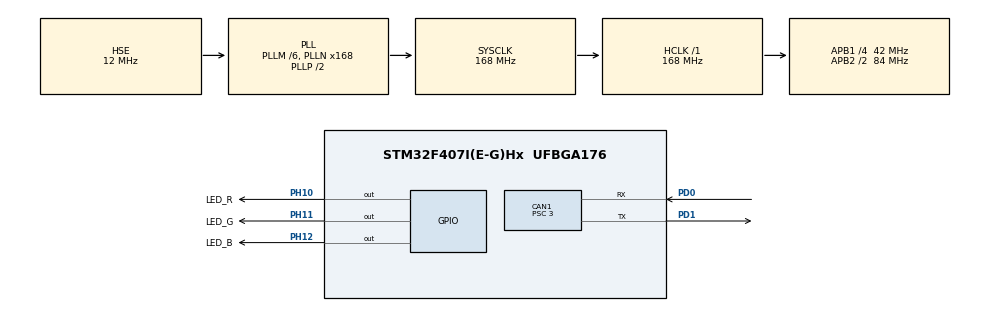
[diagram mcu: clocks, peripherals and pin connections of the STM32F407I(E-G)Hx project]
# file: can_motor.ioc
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CAN1.BS1=CAN_BS1_10TQ
CAN1.BS2=CAN_BS2_3TQ
CAN1.CalculateBaudRate=1000000
CAN1.CalculateTimeBit=1000
CAN1.CalculateTimeQuantum=71.42857142857143
CAN1.Mode=CAN_MODE_NORMAL
CAN1.Prescaler=3
Mcu.Family=STM32F4
Mcu.Name=STM32F407I(E-G)Hx
Mcu.Package=UFBGA176
NVIC.CAN1_RX0_IRQn=true\:0\:0\:false\:false\:true\:true\:true\:true
NVIC.PriorityGroup=NVIC_PRIORITYGROUP_4
PA13.Mode=Serial_Wire
PA13.Signal=SYS_JTMS-SWDIO
PA14.Mode=Serial_Wire
PA14.Signal=SYS_JTCK-SWCLK
PD0.Mode=CAN_Activate
PD0.Signal=CAN1_RX
PD1.Mode=CAN_Activate
PD1.Signal=CAN1_TX
PH0-OSC_IN.Mode=HSE-External-Oscillator
PH0-OSC_IN.Signal=RCC_OSC_IN
PH1-OSC_OUT.Mode=HSE-External-Oscillator
PH1-OSC_OUT.Signal=RCC_OSC_OUT
PH10.GPIO_Label=LED_R
PH10.PinState=GPIO_PIN_RESET
PH10.Signal=GPIO_Output
PH11.GPIO_Label=LED_G
PH11.PinState=GPIO_PIN_RESET
PH11.Signal=GPIO_Output
PH12.GPIO_Label=LED_B
PH12.PinState=GPIO_PIN_RESET
PH12.Signal=GPIO_Output
ProjectManager.HeapSize=0x200
ProjectManager.StackSize=0x400
ProjectManager.TargetToolchain=CMake
RCC.48MHZClocksFreq_Value=84000000
RCC.AHBFreq_Value=168000000
RCC.APB1CLKDivider=RCC_HCLK_DIV4
RCC.APB1Freq_Value=42000000
RCC.APB1TimFreq_Value=84000000
RCC.APB2CLKDivider=RCC_HCLK_DIV2
RCC.APB2Freq_Value=84000000
RCC.APB2TimFreq_Value=168000000
RCC.CortexFreq_Value=168000000
RCC.HCLKFreq_Value=168000000
RCC.HSE_VALUE=12000000
RCC.HSI_VALUE=16000000
RCC.LSE_VALUE=32768
RCC.PLLM=6
RCC.PLLN=168
RCC.PLLSourceVirtual=RCC_PLLSOURCE_HSE
RCC.SYSCLKFreq_VALUE=168000000
RCC.SYSCLKSource=RCC_SYSCLKSOURCE_PLLCLK
RCC.VCOOutputFreq_Value=336000000
board=custom

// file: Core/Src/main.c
/* USER CODE BEGIN Header */
/**
  ******************************************************************************
  * @file           : main.c
  * @brief          : Main program body
  ******************************************************************************
  * @attention
  *
  * Copyright (c) 2026 STMicroelectronics.
  * All rights reserved.
  *
  * This software is licensed under terms that can be found in the LICENSE file
  * in the root directory of this software component.
  * If no LICENSE file comes with this software, it is provided AS-IS.
  *
  ******************************************************************************
  */
/* USER CODE END Header */
#include "main.h"

CAN_HandleTypeDef hcan1;

/* USER CODE BEGIN PV */
/* 收到过多少帧电调反馈：用来让绿灯以肉眼看得见的速度闪
   （反馈默认 1kHz，累计 500 帧翻转一次 ≈ 2Hz） */
static uint32_t rx_frame_cnt = 0;
/* USER CODE END PV */

void SystemClock_Config(void);
static void MX_GPIO_Init(void);
static void MX_CAN1_Init(void);

int main(void)
{

  /* MCU Configuration--------------------------------------------------------*/

  /* Reset of all peripherals, Initializes the Flash interface and the Systick. */
  HAL_Init();

  /* Configure the system clock */
  SystemClock_Config();

  /* Initialize all configured peripherals */
  MX_GPIO_Init();
  MX_CAN1_Init();
  /* USER CODE BEGIN 2 */
  /* ============================================================
   * TODO 1/2/3/4/5 的答案：C610 控制帧的帧头
   *   说明书：标识符 0x200（ID 1~4）/ 0x1FF（ID 5~8）
   *           帧类型 标准帧、帧格式 DATA、DLC 8 字节
   * ============================================================ */
  CAN_TxHeaderTypeDef txHeader = {0};
  txHeader.StdId = C610_CTRL_ID_1_4;   /* 0x200：控制 ID 1~4 号电调（原来写的 0x713 是别的设备的 ID） */
  txHeader.ExtId = 0;                  /* 标准帧不使用扩展 ID */
  txHeader.IDE = CAN_ID_STD;           /* 帧类型：标准帧（不是 CAN_ID_EXT 扩展帧） */
  txHeader.RTR = CAN_RTR_DATA;         /* 帧格式：DATA（不是 CAN_RTR_REMOTE 远程帧） */
  txHeader.DLC = 8;                    /* DLC：8 字节（不是 6） */
  txHeader.TransmitGlobalTime = DISABLE;

  /* ============================================================
   * TODO 6：构造控制电机的 CAN 帧
   *   每台电调占 2 个字节，高位在前（大端 int16）：
   *   DATA[0..1]=ID1  DATA[2..3]=ID2  DATA[4..5]=ID3  DATA[6..7]=ID4
   *   本实验总线上只有一台电调（ID=1），所以只填 DATA[0..1]，其余保持 0
   * ============================================================ */
  uint8_t txData[8] = {0};
  int16_t current = MOTOR_CURRENT;              /* 1000 -> 约 1A 转矩电流 */
  txData[0] = (uint8_t)((current >> 8) & 0xFF); /* 控制电流值高 8 位 */
  txData[1] = (uint8_t)(current & 0xFF);        /* 控制电流值低 8 位 */

  uint32_t txMailbox;
  uint32_t last_tx_tick = HAL_GetTick();
  uint32_t heartbeat = 0;
  /* USER CODE END 2 */

  /* Infinite loop */
  /* USER CODE BEGIN WHILE */
  while (1)
  {
    /* ==========================================================
     * TODO 7：控制频率 100Hz（原来 HAL_Delay(500) 只有 2Hz）。
     * 电调靠“周期性收到控制帧”维持输出，停发就会停机；
     * 用 HAL_GetTick() 判断时间到没到，比 HAL_Delay 更稳。
     * ========================================================== */
    if ((HAL_GetTick() - last_tx_tick) >= CTRL_PERIOD_MS)
    {
      last_tx_tick = HAL_GetTick();

      if (HAL_CAN_AddTxMessage(&hcan1, &txHeader, txData, &txMailbox) != HAL_OK)
      {
        /* 3 个发送邮箱都满 / 总线错误：蓝灯亮起提示（这里不能死等） */
        HAL_GPIO_WritePin(LED_B_GPIO_Port, LED_B_Pin, GPIO_PIN_SET);
      }
      else
      {
        HAL_GPIO_WritePin(LED_B_GPIO_Port, LED_B_Pin, GPIO_PIN_RESET);

        /* 红灯心跳：每 50 帧（0.5s）翻转一次，说明主循环还在跑 */
        if (++heartbeat >= (500u / CTRL_PERIOD_MS))
        {
          heartbeat = 0;
          HAL_GPIO_TogglePin(LED_R_GPIO_Port, LED_R_Pin);
        }
      }
      /* 绿灯在 HAL_CAN_RxFifo0MsgPendingCallback() 里翻转：每收到一帧电调反馈闪一次 */
    }
    /* USER CODE END WHILE */

  }
}

void SystemClock_Config(void)
{
  RCC_OscInitTypeDef RCC_OscInitStruct = {0};
  RCC_ClkInitTypeDef RCC_ClkInitStruct = {0};

  /** Configure the main internal regulator output voltage
  */
  __HAL_RCC_PWR_CLK_ENABLE();
  __HAL_PWR_VOLTAGESCALING_CONFIG(PWR_REGULATOR_VOLTAGE_SCALE1);

  /** Initializes the RCC Oscillators according to the specified parameters
  * in the RCC_OscInitTypeDef structure.
  */
  RCC_OscInitStruct.OscillatorType = RCC_OSCILLATORTYPE_HSE;
  RCC_OscInitStruct.HSEState = RCC_HSE_ON;
  RCC_OscInitStruct.PLL.PLLState = RCC_PLL_ON;
  RCC_OscInitStruct.PLL.PLLSource = RCC_PLLSOURCE_HSE;
  RCC_OscInitStruct.PLL.PLLM = 6;
  RCC_OscInitStruct.PLL.PLLN = 168;
  RCC_OscInitStruct.PLL.PLLP = RCC_PLLP_DIV2;
  RCC_OscInitStruct.PLL.PLLQ = 4;
  if (HAL_RCC_OscConfig(&RCC_OscInitStruct) != HAL_OK)
  {
    Error_Handler();
  }

  /** Initializes the CPU, AHB and APB buses clocks
  */
  RCC_ClkInitStruct.ClockType = RCC_CLOCKTYPE_HCLK|RCC_CLOCKTYPE_SYSCLK
                              |RCC_CLOCKTYPE_PCLK1|RCC_CLOCKTYPE_PCLK2;
  RCC_ClkInitStruct.SYSCLKSource = RCC_SYSCLKSOURCE_PLLCLK;
  RCC_ClkInitStruct.AHBCLKDivider = RCC_SYSCLK_DIV1;
  RCC_ClkInitStruct.APB1CLKDivider = RCC_HCLK_DIV4;
  RCC_ClkInitStruct.APB2CLKDivider = RCC_HCLK_DIV2;

  if (HAL_RCC_ClockConfig(&RCC_ClkInitStruct, FLASH_LATENCY_5) != HAL_OK)
  {
    Error_Handler();
  }
}

static void MX_CAN1_Init(void)
{

  hcan1.Instance = CAN1;
  hcan1.Init.Prescaler = 3;
  hcan1.Init.Mode = CAN_MODE_NORMAL;
  hcan1.Init.SyncJumpWidth = CAN_SJW_1TQ;
  hcan1.Init.TimeSeg1 = CAN_BS1_10TQ;
  hcan1.Init.TimeSeg2 = CAN_BS2_3TQ;
  hcan1.Init.TimeTriggeredMode = DISABLE;
  hcan1.Init.AutoBusOff = DISABLE;
  hcan1.Init.AutoWakeUp = DISABLE;
  hcan1.Init.AutoRetransmission = DISABLE;
  hcan1.Init.ReceiveFifoLocked = DISABLE;
  hcan1.Init.TransmitFifoPriority = DISABLE;
  if (HAL_CAN_Init(&hcan1) != HAL_OK)
  {
    Error_Handler();
  }
  /* USER CODE BEGIN CAN1_Init 2 */
  /* 光有 HAL_CAN_Init() 只是把 CAN 寄存器配好，还开不了工：必须再
     （1）配过滤器  （2）Start  （3）打开 RX 中断通知，否则一帧都收不到。
     掩码全 0 => 任何 ID 都放行，并且都丢进 FIFO0（回调是 RxFifo0 版本） */
  CAN_FilterTypeDef can_filter_st = {0};
  can_filter_st.FilterActivation = ENABLE;
  can_filter_st.FilterMode = CAN_FILTERMODE_IDMASK;
  can_filter_st.FilterScale = CAN_FILTERSCALE_32BIT;
  can_filter_st.FilterIdHigh = 0x0000;
  can_filter_st.FilterIdLow = 0x0000;
  can_filter_st.FilterMaskIdHigh = 0x0000;
  can_filter_st.FilterMaskIdLow = 0x0000;
  can_filter_st.FilterBank = 0;              /* 第 0 组过滤器属于 CAN1 */
  can_filter_st.FilterFIFOAssignment = CAN_RX_FIFO0;
  can_filter_st.SlaveStartFilterBank = 14;   /* 0~13 归 CAN1，14~27 归 CAN2 */
  if (HAL_CAN_ConfigFilter(&hcan1, &can_filter_st) != HAL_OK)
  {
    Error_Handler();
  }
  if (HAL_CAN_Start(&hcan1) != HAL_OK)
  {
    Error_Handler();
  }
  if (HAL_CAN_ActivateNotification(&hcan1, CAN_IT_RX_FIFO0_MSG_PENDING) != HAL_OK)
  {
    Error_Handler();
  }
  /* USER CODE END CAN1_Init 2 */

}

static void MX_GPIO_Init(void)
{
  GPIO_InitTypeDef GPIO_InitStruct = {0};

  /* GPIO Ports Clock Enable */
  __HAL_RCC_GPIOA_CLK_ENABLE();
  __HAL_RCC_GPIOD_CLK_ENABLE();
  __HAL_RCC_GPIOH_CLK_ENABLE();

  /*Configure GPIO pin Output Level */
  HAL_GPIO_WritePin(GPIOH, LED_B_Pin|LED_G_Pin|LED_R_Pin, GPIO_PIN_RESET);

  /*Configure GPIO pins : LED_B_Pin LED_G_Pin LED_R_Pin */
  GPIO_InitStruct.Pin = LED_B_Pin|LED_G_Pin|LED_R_Pin;
  GPIO_InitStruct.Mode = GPIO_MODE_OUTPUT_PP;
  GPIO_InitStruct.Pull = GPIO_NOPULL;
  GPIO_InitStruct.Speed = GPIO_SPEED_FREQ_LOW;
  HAL_GPIO_Init(GPIOH, &GPIO_InitStruct);

  /* USER CODE BEGIN MX_GPIO_Init_2 */
  /* 开发板 C 型的三色 LED：PH10=红 PH11=绿 PH12=蓝，
     经 NPN 三极管驱动，引脚输出高电平 -> 灯亮。
     （原来翻转的 PE5 是 F407VGT6 最小系统板的灯，C 板上没有接 LED） */
  /* USER CODE END MX_GPIO_Init_2 */
}

/* USER CODE BEGIN 4 */
/**
  * @brief  FIFO0 里有未读帧时，HAL_CAN_IRQHandler() 会调用这个弱函数（在 main.c 里重写）
  * @note   中断里不要调用 Error_Handler()：它会 __disable_irq() 然后死循环
  * @note   每次进中断都要把 FIFO0 读空，否则 pending 中断会一直有效，卡死主循环
  */
void HAL_CAN_RxFifo0MsgPendingCallback(CAN_HandleTypeDef *hcan)
{
  CAN_RxHeaderTypeDef rx_header;
  uint8_t rx_data[8];

  while (HAL_CAN_GetRxFifoFillLevel(hcan, CAN_RX_FIFO0) > 0)
  {
    if (HAL_CAN_GetRxMessage(hcan, CAN_RX_FIFO0, &rx_header, rx_data) != HAL_OK)
    {
      break;
    }

    /* 只关心自己这台电调的反馈帧：标识符 = 0x200 + 电调 ID */
    if ((rx_header.IDE == CAN_ID_STD) &&
        (rx_header.StdId == (C610_FEEDBACK_ID_BASE + MOTOR_ID)))
    {
      int16_t rotor_angle   = (int16_t)((rx_data[0] << 8) | rx_data[1]);  /* 0~8191 对应 0~360° */
      int16_t rotor_speed   = (int16_t)((rx_data[2] << 8) | rx_data[3]);  /* rpm */
      int16_t real_current  = (int16_t)((rx_data[4] << 8) | rx_data[5]);  /* 实际转矩电流 */
      uint8_t motor_err     = rx_data[7];                                 /* 错误码 */

      /* 这些量先留着：要看波形时接到 OLED / 串口 / 调试器 live watch 上 */
      (void)rotor_angle;
      (void)rotor_speed;
      (void)real_current;
      (void)motor_err;

      /* 绿灯在闪 = CAN 通了、电调在回话；完全不闪 = 一帧反馈都没收到 */
      if (++rx_frame_cnt >= 500u)
      {
        rx_frame_cnt = 0;
        HAL_GPIO_TogglePin(LED_G_GPIO_Port, LED_G_Pin);
      }
    }
  }
}
/* USER CODE END 4 */

void Error_Handler(void)
{
  __disable_irq();
  while (1)
  {
  }
}
